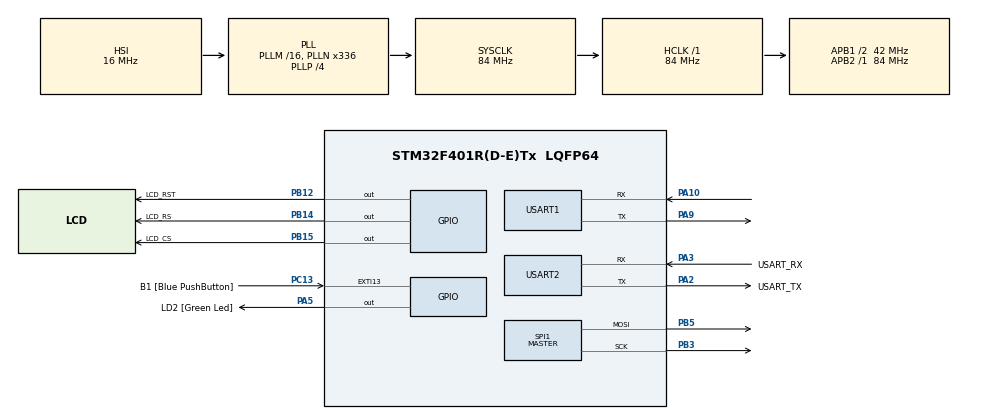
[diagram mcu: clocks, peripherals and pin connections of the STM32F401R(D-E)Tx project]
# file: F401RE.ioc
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Mcu.Family=STM32F4
Mcu.Name=STM32F401R(D-E)Tx
Mcu.Package=LQFP64
NVIC.PriorityGroup=NVIC_PRIORITYGROUP_0
PA10.Mode=Asynchronous
PA10.Signal=USART1_RX
PA13.GPIO_Label=TMS
PA13.Mode=Serial_Wire
PA13.Signal=SYS_JTMS-SWDIO
PA14.GPIO_Label=TCK
PA14.Mode=Serial_Wire
PA14.Signal=SYS_JTCK-SWCLK
PA2.GPIO_Label=USART_TX
PA2.GPIO_Mode=GPIO_MODE_AF_PP
PA2.GPIO_PuPd=GPIO_NOPULL
PA2.GPIO_Speed=GPIO_SPEED_FREQ_LOW
PA2.Mode=Asynchronous
PA2.Signal=USART2_TX
PA3.GPIO_Label=USART_RX
PA3.GPIO_Mode=GPIO_MODE_AF_PP
PA3.GPIO_PuPd=GPIO_NOPULL
PA3.GPIO_Speed=GPIO_SPEED_FREQ_LOW
PA3.Mode=Asynchronous
PA3.Signal=USART2_RX
PA5.GPIO_Label=LD2 [Green Led]
PA5.GPIO_Mode=GPIO_MODE_OUTPUT_PP
PA5.GPIO_PuPd=GPIO_NOPULL
PA5.GPIO_Speed=GPIO_SPEED_FREQ_LOW
PA5.Signal=GPIO_Output
PA9.Mode=Asynchronous
PA9.Signal=USART1_TX
PB12.GPIO_Label=LCD_RST
PB12.GPIO_Speed=GPIO_SPEED_FREQ_LOW
PB12.Signal=GPIO_Output
PB14.GPIO_Label=LCD_RS
PB14.GPIO_Speed=GPIO_SPEED_FREQ_LOW
PB14.Signal=GPIO_Output
PB15.GPIO_Label=LCD_CS
PB15.GPIO_Speed=GPIO_SPEED_FREQ_LOW
PB15.Signal=GPIO_Output
PB3.Mode=TX_Only_Simplex_Unidirect_Master
PB3.Signal=SPI1_SCK
PB5.Mode=TX_Only_Simplex_Unidirect_Master
PB5.Signal=SPI1_MOSI
PC13-ANTI_TAMP.GPIO_Label=B1 [Blue PushButton]
PC13-ANTI_TAMP.GPIO_ModeDefaultEXTI=GPIO_MODE_IT_FALLING
PC13-ANTI_TAMP.GPIO_PuPd=GPIO_NOPULL
PC13-ANTI_TAMP.Signal=GPXTI13
PC14-OSC32_IN.Mode=LSE-External-Oscillator
PC14-OSC32_IN.Signal=RCC_OSC32_IN
PC15-OSC32_OUT.Mode=LSE-External-Oscillator
PC15-OSC32_OUT.Signal=RCC_OSC32_OUT
PH0\ -\ OSC_IN.Mode=HSE-External-Clock-Source
PH0\ -\ OSC_IN.Signal=RCC_OSC_IN
PH1\ -\ OSC_OUT.Mode=HSE-External-Clock-Source
PH1\ -\ OSC_OUT.Signal=RCC_OSC_OUT
ProjectManager.HeapSize=0x200
ProjectManager.StackSize=0x400
ProjectManager.TargetToolchain=STM32CubeIDE
RCC.48MHZClocksFreq_Value=48000000
RCC.AHBFreq_Value=84000000
RCC.APB1CLKDivider=RCC_HCLK_DIV2
RCC.APB1Freq_Value=42000000
RCC.APB1TimFreq_Value=84000000
RCC.APB2Freq_Value=84000000
RCC.APB2TimFreq_Value=84000000
RCC.CortexFreq_Value=84000000
RCC.HCLKFreq_Value=84000000
RCC.HSE_VALUE=8000000
RCC.HSI_VALUE=16000000
RCC.PLLN=336
RCC.PLLP=RCC_PLLP_DIV4
RCC.PLLQ=7
RCC.SYSCLKFreq_VALUE=84000000
RCC.SYSCLKSource=RCC_SYSCLKSOURCE_PLLCLK
RCC.VCOOutputFreq_Value=336000000
SPI1.BaudRatePrescaler=SPI_BAUDRATEPRESCALER_32
SPI1.CLKPhase=SPI_PHASE_1EDGE
SPI1.CLKPolarity=SPI_POLARITY_LOW
SPI1.CRCCalculation=SPI_CRCCALCULATION_DISABLE
SPI1.DataSize=SPI_DATASIZE_8BIT
SPI1.Direction=SPI_DIRECTION_2LINES
SPI1.FirstBit=SPI_FIRSTBIT_MSB
SPI1.Mode=SPI_MODE_MASTER
SPI1.VirtualType=VM_MASTER
USART1.VirtualMode=VM_ASYNC
USART2.VirtualMode=VM_ASYNC
board=NUCLEO-F401RE

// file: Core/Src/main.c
/* USER CODE BEGIN Header */
/**
  ******************************************************************************
  * @file           : main.c
  * @brief          : Main program body
  ******************************************************************************
  * @attention
  *
  * Copyright (c) 2022 STMicroelectronics.
  * All rights reserved.
  *
  * This software is licensed under terms that can be found in the LICENSE file
  * in the root directory of this software component.
  * If no LICENSE file comes with this software, it is provided AS-IS.
  *
  ******************************************************************************
  */
/* USER CODE END Header */
#include "main.h"
#include "spi.h"
#include "usart.h"
#include "gpio.h"

/* USER CODE BEGIN Includes */
#include <stdio.h>
#include <string.h>
#include "ili9341.h"
#include "fonts.h"
/* USER CODE END Includes */

void SystemClock_Config(void);

int main(void)
{

  /* MCU Configuration--------------------------------------------------------*/

  /* Reset of all peripherals, Initializes the Flash interface and the Systick. */
  HAL_Init();

  /* Configure the system clock */
  SystemClock_Config();

  /* Initialize all configured peripherals */
  MX_GPIO_Init();
  MX_USART2_UART_Init();
  MX_USART1_UART_Init();
  MX_SPI1_Init();
  /* USER CODE BEGIN 2 */
  ILI9341_Unselect();
  ILI9341_Init();
  /* USER CODE END 2 */

  /* Infinite loop */
  /* USER CODE BEGIN WHILE */
  while (1)
  {
	// Check border
	ILI9341_FillScreen(ILI9341_BLACK);

	for(int x = 0; x < ILI9341_WIDTH; x++) {
	  ILI9341_DrawPixel(x, 0, ILI9341_RED);
	  ILI9341_DrawPixel(x, ILI9341_HEIGHT-1, ILI9341_RED);
	}

	for(int y = 0; y < ILI9341_HEIGHT; y++) {
	  ILI9341_DrawPixel(0, y, ILI9341_RED);
	  ILI9341_DrawPixel(ILI9341_WIDTH-1, y, ILI9341_RED);
	}

	HAL_Delay(3000);

	// Check fonts
	ILI9341_FillScreen(ILI9341_BLACK);
	ILI9341_WriteString(0, 0, "GIGA BG", Font_7x10, ILI9341_RED, ILI9341_BLACK);
	ILI9341_WriteString(0, 3*10, "GIGA BG", Font_11x18, ILI9341_GREEN, ILI9341_BLACK);
	ILI9341_WriteString(0, 3*10+3*18, "GIGA BG", Font_16x26, ILI9341_BLUE, ILI9341_BLACK);

	HAL_Delay(1000);
	ILI9341_InvertColors(true);
	HAL_Delay(1000);
	ILI9341_InvertColors(false);

	HAL_Delay(5000);

	// Check colors
	ILI9341_FillScreen(ILI9341_WHITE);
	ILI9341_WriteString(0, 0, "GIGA BG", Font_11x18, ILI9341_BLACK, ILI9341_WHITE);
	HAL_Delay(500);

	ILI9341_FillScreen(ILI9341_BLUE);
	ILI9341_WriteString(0, 0, "GIGA BG", Font_11x18, ILI9341_BLACK, ILI9341_BLUE);
	HAL_Delay(500);

	ILI9341_FillScreen(ILI9341_RED);
	ILI9341_WriteString(0, 0, "GIGA BG", Font_11x18, ILI9341_BLACK, ILI9341_RED);
	HAL_Delay(500);

	ILI9341_FillScreen(ILI9341_GREEN);
	ILI9341_WriteString(0, 0, "GIGA BG", Font_11x18, ILI9341_BLACK, ILI9341_GREEN);
	HAL_Delay(500);

	ILI9341_FillScreen(ILI9341_CYAN);
	ILI9341_WriteString(0, 0, "GIGA BG", Font_11x18, ILI9341_BLACK, ILI9341_CYAN);
	HAL_Delay(500);

	ILI9341_FillScreen(ILI9341_MAGENTA);
	ILI9341_WriteString(0, 0, "GIGA BG", Font_11x18, ILI9341_BLACK, ILI9341_MAGENTA);
	HAL_Delay(500);

	ILI9341_FillScreen(ILI9341_YELLOW);
	ILI9341_WriteString(0, 0, "GIGA BG", Font_11x18, ILI9341_BLACK, ILI9341_YELLOW);
	HAL_Delay(500);

	ILI9341_FillScreen(ILI9341_BLACK);
	ILI9341_WriteString(0, 0, "GIGA BG", Font_11x18, ILI9341_WHITE, ILI9341_BLACK);
	HAL_Delay(500);
    /* USER CODE END WHILE */

  }
}

void SystemClock_Config(void)
{
  RCC_OscInitTypeDef RCC_OscInitStruct = {0};
  RCC_ClkInitTypeDef RCC_ClkInitStruct = {0};

  /** Configure the main internal regulator output voltage
  */
  __HAL_RCC_PWR_CLK_ENABLE();
  __HAL_PWR_VOLTAGESCALING_CONFIG(PWR_REGULATOR_VOLTAGE_SCALE2);

  /** Initializes the RCC Oscillators according to the specified parameters
  * in the RCC_OscInitTypeDef structure.
  */
  RCC_OscInitStruct.OscillatorType = RCC_OSCILLATORTYPE_HSI;
  RCC_OscInitStruct.HSIState = RCC_HSI_ON;
  RCC_OscInitStruct.HSICalibrationValue = RCC_HSICALIBRATION_DEFAULT;
  RCC_OscInitStruct.PLL.PLLState = RCC_PLL_ON;
  RCC_OscInitStruct.PLL.PLLSource = RCC_PLLSOURCE_HSI;
  RCC_OscInitStruct.PLL.PLLM = 16;
  RCC_OscInitStruct.PLL.PLLN = 336;
  RCC_OscInitStruct.PLL.PLLP = RCC_PLLP_DIV4;
  RCC_OscInitStruct.PLL.PLLQ = 7;
  if (HAL_RCC_OscConfig(&RCC_OscInitStruct) != HAL_OK)
  {
    Error_Handler();
  }

  /** Initializes the CPU, AHB and APB buses clocks
  */
  RCC_ClkInitStruct.ClockType = RCC_CLOCKTYPE_HCLK|RCC_CLOCKTYPE_SYSCLK
                              |RCC_CLOCKTYPE_PCLK1|RCC_CLOCKTYPE_PCLK2;
  RCC_ClkInitStruct.SYSCLKSource = RCC_SYSCLKSOURCE_PLLCLK;
  RCC_ClkInitStruct.AHBCLKDivider = RCC_SYSCLK_DIV1;
  RCC_ClkInitStruct.APB1CLKDivider = RCC_HCLK_DIV2;
  RCC_ClkInitStruct.APB2CLKDivider = RCC_HCLK_DIV1;

  if (HAL_RCC_ClockConfig(&RCC_ClkInitStruct, FLASH_LATENCY_2) != HAL_OK)
  {
    Error_Handler();
  }
}

void Error_Handler(void)
{
  __disable_irq();
  while (1)
  {
  }
}
